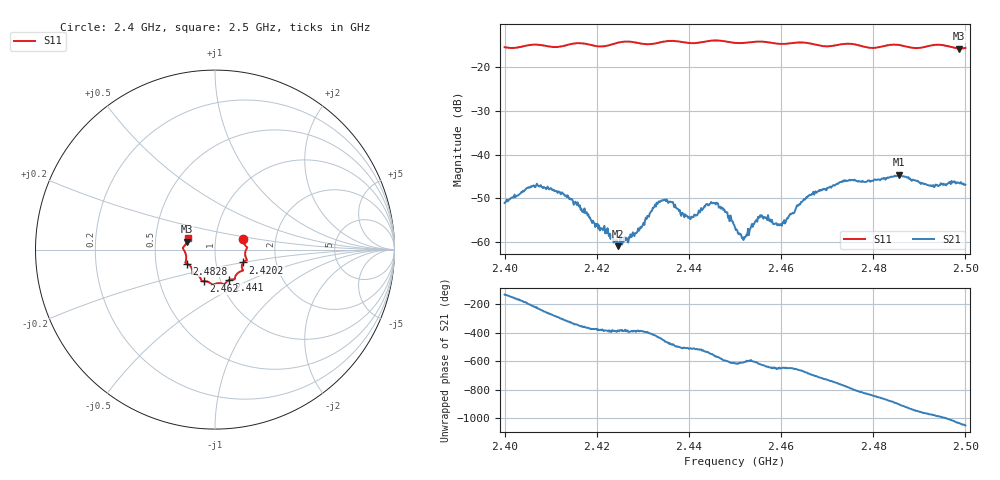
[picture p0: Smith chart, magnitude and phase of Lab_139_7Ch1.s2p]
# Hz S RI R 50
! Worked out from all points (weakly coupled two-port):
!   601 points, 2.4 GHz to 2.5 GHz, reference 50 ohm
!   highest |S21| = -44.55 dB at 2.4857 GHz (marker M1); lowest = -60.9 dB at 2.4247 GHz (marker M2)
!   lowest |S11| = -15.8 dB at 2.4987 GHz (marker M3), VSWR 1.39, Z = 36.3 + j3.26 ohm
!   |S11| at or under -10 dB: start of sweep to end of sweep
!   S12 and S22 are empty: the file has one direction only
!   S11 on the Smith chart (normalised r, x): 2.4 GHz: 1.36, +0.17; 2.4202 GHz: 1.35, -0.20; 2.441 GHz: 1.10, -0.39; 2.462 GHz: 0.83, -0.30; 2.4828 GHz: 0.72, -0.12; 2.5 GHz: 0.73, +0.09
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2.4e9  0.157 0.0609  -0.00196 -0.00201  0 0  0 0
2.407333e9  0.1793 0.00977  -0.00263 0.00351  0 0  0 0
2.416667e9  0.1774 -0.059  0.00241 0.000224  0 0  0 0
2.420167e9  0.1567 -0.0718  0.00149 -0.000662  0 0  0 0
2.424667e9  0.1544 -0.1112  0.000815 -0.000389  0 0  0 0
2.428667e9  0.1469 -0.1197  0.00113 -0.000596  0 0  0 0
2.433333e9  0.1125 -0.1519  0.000891 -0.00273  0 0  0 0
2.441e9  0.0773 -0.1703  -0.00169 -0.000948  0 0  0 0
2.445833e9  0.0514 -0.1943  -0.00245 0.00115  0 0  0 0
2.45e9  0.0268 -0.1867  -0.000331 0.00144  0 0  0 0
2.452e9  0.00748 -0.1887  -0.000463 0.00105  0 0  0 0
2.4555e9  -0.0129 -0.1951  -0.000279 0.00202  0 0  0 0
2.459667e9  -0.0393 -0.1796  0.000404 0.00151  0 0  0 0
2.462e9  -0.0613 -0.1761  0.000706 0.002  0 0  0 0
2.466667e9  -0.0773 -0.1674  0.00322 0.00151  0 0  0 0
2.4735e9  -0.1234 -0.1356  0.00315 -0.0038  0 0  0 0
2.482833e9  -0.1579 -0.0779  -0.00471 -0.00269  0 0  0 0
2.483333e9  -0.1607 -0.0766  -0.00498 -0.0022  0 0  0 0
2.485667e9  -0.1642 -0.0692  -0.00591 0.000361  0 0  0 0
2.492833e9  -0.1774 0.00283  -0.00111 0.00422  0 0  0 0
2.498667e9  -0.1567 0.0436  0.00328 0.0034  0 0  0 0
2.5e9  -0.1531 0.062  0.00395 0.00225  0 0  0 0
